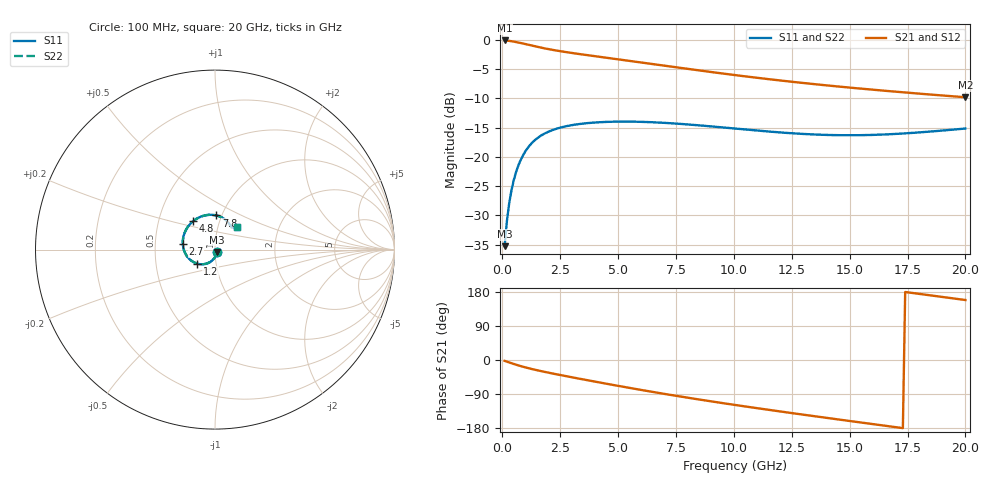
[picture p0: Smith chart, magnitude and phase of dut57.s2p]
! Touchstone file exported from HFSS 2023.1.0
!  File:  D:/Users/fzz/RDL_TSV/temp_RDL_TSV_57_1778745863.aedt
!  Generated:  4:12:42 %x4E0B%x5348  5%x6708 14, 2026
!  Design:  RDL_TSV
!  Project:  temp_RDL_TSV_57_1778745863
!  Setup:  Setup1
!  Solution:  Sweep
! Variables:
!  dtsv = 20.61um
!  hbump = 3um
!  htsv = 96.62um
!  ldown = 528.74um
!  lrdl = 114.09um
!  p = 40
!  p1 = 50.24um
!  rhole = 10um
!  subl = 2042.58um
!  t = 450um
!  tdown = 3.87um
!  trdl = 4.45um
!  viad = 10um
!  wdown = 14.64um
!  wrdl = 29.47um
!  xbump = 18um
# GHz S MA R 50.000000
! Terminal data exported
! Port[1] = TM1_1_T1
! Port[2] = TM1_4_T1
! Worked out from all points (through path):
!   200 points, 100 MHz to 20 GHz, reference 50 ohm
!   highest |S21| = -0.11 dB at 100 MHz (marker M1); lowest = -9.8 dB at 20 GHz (marker M2)
!   group delay of S21, straight-line fit = 26.4 ps
!   lowest |S11| = -35.2 dB at 100 MHz (marker M3), VSWR 1.04, Z = 51 - j1.41 ohm
!   |S11| at or under -10 dB: start of sweep to end of sweep
!   |S22| runs from -35.2 to -14.0 dB; largest |S21 - S12| = 3.7e-14
!   S11 on the Smith chart (normalised r, x): 100 MHz: 1.02, -0.03; 1.2 GHz: 0.81, -0.13; 2.7 GHz: 0.69, +0.04; 4.8 GHz: 0.75, +0.24; 7.8 GHz: 0.94, +0.37; 20 GHz: 1.23, +0.32
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0.1  0.01728 -52.9  0.9873 -2.2  0.9873 -2.2  0.01728 -52.9
! Gamma 0 0 0 0
! Port Impedance 50 0 50 0
0.2  0.02844 -75.9  0.9841 -4.4  0.9841 -4.4  0.02844 -75.9
0.3  0.04042 -88.6  0.9791 -6.5  0.9791 -6.5  0.04043 -88.6
0.4  0.05231 -97.8  0.9728 -8.6  0.9728 -8.6  0.05232 -97.8
0.5  0.0638 -105.2  0.9653 -10.6  0.9653 -10.6  0.06381 -105.2
0.6  0.07474 -111.7  0.9569 -12.5  0.9569 -12.5  0.07475 -111.7
0.8  0.09468 -123.1  0.9384 -16.2  0.9384 -16.2  0.09468 -123.1
1.2  0.1264 -141.9  0.8994 -22.7  0.8994 -22.7  0.1264 -141.8
1.8  0.1573 -164.0  0.8471 -31.0  0.8471 -31.0  0.1573 -164.0
2.7  0.1817 170.5  0.7883 -42.0  0.7883 -42.0  0.1818 170.5
3.5  0.1927 152.4  0.7476 -51.3  0.7476 -51.3  0.1927 152.4
4.8  0.1998 128.0  0.6898 -66.0  0.6898 -66.0  0.1999 128.0
5.8  0.1997 112.5  0.6484 -76.9  0.6484 -76.9  0.1997 112.5
6.8  0.1963 99.2  0.6089 -87.4  0.6089 -87.4  0.1963 99.2
7.8  0.1907 88.0  0.5719 -97.5  0.5719 -97.5  0.1907 88.0
8.9  0.1831 77.9  0.5346 -108.0  0.5346 -108.0  0.1831 77.8
10.1  0.1743 69.1  0.4982 -119.1  0.4982 -119.1  0.1742 69.1
11.7  0.1635 60.9  0.4564 -133.2  0.4564 -133.2  0.1635 60.9
13.4  0.1556 55.7  0.4196 -147.6  0.4196 -147.6  0.1556 55.6
15  0.153 53.1  0.3907 -160.9  0.3907 -160.9  0.153 53.0
16.7  0.156 51.3  0.3645 -174.9  0.3645 -174.9  0.156 51.2
20  0.1747 46.5  0.323 158.3  0.323 158.3  0.1746 46.4
